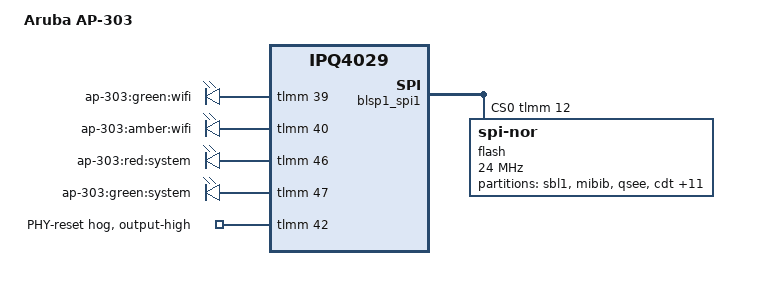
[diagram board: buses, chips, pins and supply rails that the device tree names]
// SPDX-License-Identifier: GPL-2.0 OR MIT

#include "qcom-ipq4029-aruba-glenmorangie.dtsi"
#include <dt-bindings/gpio/gpio.h>

/ {
	model = "Aruba AP-303";
	compatible = "aruba,ap-303";

	aliases {
		led-boot = &led_system_green;
		led-failsafe = &led_system_red;
		led-running = &led_system_green;
		led-upgrade = &led_system_red;
	};

	leds {
		compatible = "gpio-leds";

		wifi_green {
			label = "ap-303:green:wifi";
			gpios = <&tlmm 39 GPIO_ACTIVE_HIGH>;
			linux,default-trigger = "phy0tpt";
		};

		wifi_amber {
			label = "ap-303:amber:wifi";
			gpios = <&tlmm 40 GPIO_ACTIVE_HIGH>;
			linux,default-trigger = "phy1tpt";
		};

		led_system_red: system_red {
			label = "ap-303:red:system";
			gpios = <&tlmm 46 GPIO_ACTIVE_HIGH>;
		};

		led_system_green: system_green {
			label = "ap-303:green:system";
			gpios = <&tlmm 47 GPIO_ACTIVE_HIGH>;
		};
	};
};

&tlmm {
	/*
	 * In addition to the Pins listed below,
	 * the following GPIOs have "features":
	 * 54 - out - active low to force HW reset
	 * 41 - out - active low to reset TPM
	 * 43 - out - active low to reset BLE radio
	 * 19 - in  - active high when DC powered
	 */

	phy-reset {
		line-name = "PHY-reset";
		gpios = <42 GPIO_ACTIVE_HIGH>;
		gpio-hog;
		output-high;
	};
};

&blsp1_spi1 {
	pinctrl-0 = <&spi_0_pins>;
	pinctrl-names = "default";
	status = "okay";
	cs-gpios = <&tlmm 12 GPIO_ACTIVE_HIGH>;

	flash@0 {
		compatible = "jedec,spi-nor";
		reg = <0>;
		spi-max-frequency = <24000000>;

		partitions {
			compatible = "fixed-partitions";
			#address-cells = <1>;
			#size-cells = <1>;

			/*
			 * There is no partition map for the NOR flash
			 * in the stock firmware.
			 *
			 * All partitions here are based on offsets
			 * found in the U-Boot GPL code and information
			 * from smem.
			 */

			partition@0 {
				label = "sbl1";
				reg = <0x0 0x40000>;
				read-only;
			};

			partition@40000 {
				label = "mibib";
				reg = <0x40000 0x20000>;
				read-only;
			};

			partition@60000 {
				label = "qsee";
				reg = <0x60000 0x60000>;
				read-only;
			};

			partition@c0000 {
				label = "cdt";
				reg = <0xc0000 0x10000>;
				read-only;
			};

			partition@d0000 {
				label = "ddrparams";
				reg = <0xd0000 0x10000>;
				read-only;
			};

			partition@e0000 {
				label = "ART";
				reg = <0xe0000 0x10000>;
				read-only;
			};

			partition@f0000 {
				label = "appsbl";
				reg = <0xf0000 0xf0000>;
				read-only;
			};

			partition@1e0000 {
				label = "mfginfo";
				reg = <0x1e0000 0x10000>;
				read-only;
			};

			partition@1f0000 {
				label = "apcd";
				reg = <0x1f0000 0x10000>;
				read-only;
			};

			partition@200000 {
				label = "osss";
				reg = <0x200000 0x180000>;
				read-only;
			};

			partition@380000 {
				/* This is empty */
				label = "appsblenv";
				reg = <0x380000 0x10000>;
				read-only;
			};

			partition@390000 {
				label = "pds";
				reg = <0x390000 0x10000>;
				read-only;
			};

			partition@3a0000 {
				label = "fcache";
				reg = <0x3a0000 0x10000>;
				read-only;
			};

			partition@3b0000 {
				/* Called osss1 in smem */
				label = "u-boot-env-bak";
				reg = <0x3b0000 0x10000>;
				read-only;
			};

			partition@3f0000 {
				label = "u-boot-env";
				reg = <0x3f0000 0x10000>;
				read-only;
			};
		};
	};
};
